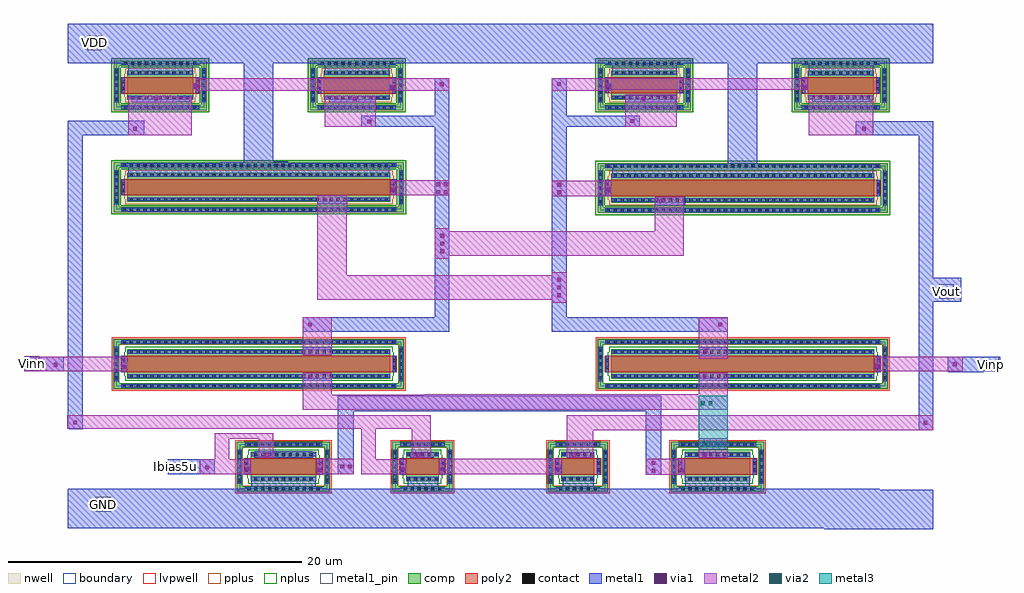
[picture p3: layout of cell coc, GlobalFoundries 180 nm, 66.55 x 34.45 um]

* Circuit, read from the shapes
.subckt coc GND Ibias5u VDD Vinn Vinp Vout
XM1 n1 Vinn n2 GND nfet_03v3 w=17.92u l=1.12u
XM2 Ibias5u Ibias5u GND GND nfet_03v3 w=4.48u l=1.12u
XM3 n3 n3 GND GND nfet_03v3 w=2.24u l=1.12u
XM4 Vout n3 GND GND nfet_03v3 w=2.24u l=1.12u
XM5 n4 Vinp n2 GND nfet_03v3 w=17.92u l=1.12u
XM6 n2 Ibias5u GND GND nfet_03v3 w=4.48u l=1.12u
XM7 VDD n1 n4 VDD pfet_03v3 w=17.92u l=1.12u
XM8 VDD n1 n3 VDD pfet_03v3 w=4.48u l=1.12u
XM9 VDD n1 n1 VDD pfet_03v3 w=4.48u l=1.12u
XM10 VDD n4 n1 VDD pfet_03v3 w=17.92u l=1.12u
XM11 VDD n4 n4 VDD pfet_03v3 w=4.48u l=1.12u
XM12 VDD n4 Vout VDD pfet_03v3 w=4.48u l=1.12u
.ends

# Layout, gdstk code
from math import pi, radians
import gdstk
lib = gdstk.Library(unit=1e-6, precision=1e-09)
def R(c, l, rs):  # rectangles x0, y0, x1, y1
    for r in rs: c.add(gdstk.rectangle(r[:2], r[2:], *l))
def A(c, l, x, y, w, h, nx, ny, dx, dy):  # array of equal rectangles
    R(c, l, [(x+i*dx, y+j*dy, x+i*dx+w, y+j*dy+h) for i in range(nx) for j in range(ny)])
boundary = (0, 0)
nwell = (21, 0)
comp = (22, 0)
poly2 = (30, 0)
pplus = (31, 0)
nplus = (32, 0)
contact = (33, 0)
metal1 = (34, 0)
metal1_pin = (34, 10)
via1 = (35, 0)
metal2 = (36, 0)
via2 = (38, 0)
metal3 = (42, 0)
lvpwell = (204, 0)

nfet_03v3_e7qsty = lib.new_cell('nfet_03v3_E7QSTY')
R(nfet_03v3_e7qsty, boundary, [(-1.51,-1.87,1.51,1.87)])
R(nfet_03v3_e7qsty, comp, [(-1.69,-2.05,1.69,-1.69), (-1.69,-1.69,-1.33,1.69), (1.33,-1.69,1.69,1.69), (-1,-1.12,1,1.12), (-1.69,1.69,1.69,2.05)])
R(nfet_03v3_e7qsty, poly2, [(-0.56,-1.58,0.56,1.58)])
R(nfet_03v3_e7qsty, pplus, [(-1.205,-2.08,1.205,-2.07), (-1.71,-2.07,1.71,-1.66), (-1.71,-1.66,-1.3,-1.565), (1.3,-1.66,1.71,-1.565), (-1.72,-1.565,-1.3,1.565), (1.3,-1.565,1.72,1.565), (-1.71,1.565,-1.3,1.66), (1.3,1.565,1.71,1.66), (-1.71,1.66,1.71,2.07), (-1.205,2.07,1.205,2.08)])
R(nfet_03v3_e7qsty, nplus, [(-0.79,-1.35,0.79,-1.28), (-1.16,-1.28,1.16,1.28), (-0.79,1.28,0.79,1.35)])
A(nfet_03v3_e7qsty, contact, -1.05, -1.98, 0.22, 0.22, 5, 2, 0.47, 3.74)
A(nfet_03v3_e7qsty, contact, -1.62, -1.285, 0.22, 0.22, 1, 6, 0, 0.47)
A(nfet_03v3_e7qsty, contact, 1.4, -1.285, 0.22, 0.22, 1, 6, 0, 0.47)
A(nfet_03v3_e7qsty, contact, -0.93, -1.05, 0.22, 0.22, 1, 5, 0, 0.47)
A(nfet_03v3_e7qsty, contact, 0.71, -1.05, 0.22, 0.22, 1, 5, 0, 0.47)
R(nfet_03v3_e7qsty, contact, [(-0.345,-1.51,-0.125,-1.29), (0.125,-1.51,0.345,-1.29), (-0.345,1.29,-0.125,1.51), (0.125,1.29,0.345,1.51)])
R(nfet_03v3_e7qsty, metal1, [(-1.165,-1.985,1.165,-1.755), (-1.625,-1.525,-1.395,1.525), (1.395,-1.525,1.625,1.525), (-0.55,-1.515,0.55,-1.285), (-0.935,-1.11,-0.705,1.11), (0.705,-1.11,0.935,1.11), (-0.55,1.285,0.55,1.515), (-1.165,1.755,1.165,1.985)])
R(nfet_03v3_e7qsty, lvpwell, [(-1.81,-2.17,1.81,2.17)])

nfet_03v3_yzp3ej = lib.new_cell('nfet_03v3_YZP3EJ')
R(nfet_03v3_yzp3ej, boundary, [(-1.51,-2.99,1.51,2.99)])
R(nfet_03v3_yzp3ej, comp, [(-1.69,-3.17,1.69,-2.81), (-1.69,-2.81,-1.33,2.81), (1.33,-2.81,1.69,2.81), (-1,-2.24,1,2.24), (-1.69,2.81,1.69,3.17)])
R(nfet_03v3_yzp3ej, poly2, [(-0.56,-2.7,0.56,2.7)])
R(nfet_03v3_yzp3ej, pplus, [(-1.205,-3.2,1.205,-3.19), (-1.71,-3.19,1.71,-2.78), (-1.71,-2.78,-1.3,-2.685), (1.3,-2.78,1.71,-2.685), (-1.72,-2.685,-1.3,2.685), (1.3,-2.685,1.72,2.685), (-1.71,2.685,-1.3,2.78), (1.3,2.685,1.71,2.78), (-1.71,2.78,1.71,3.19), (-1.205,3.19,1.205,3.2)])
R(nfet_03v3_yzp3ej, nplus, [(-0.79,-2.47,0.79,-2.4), (-1.16,-2.4,1.16,2.4), (-0.79,2.4,0.79,2.47)])
A(nfet_03v3_yzp3ej, contact, -1.05, -3.1, 0.22, 0.22, 5, 2, 0.47, 5.98)
A(nfet_03v3_yzp3ej, contact, -1.62, -2.46, 0.22, 0.22, 1, 11, 0, 0.47)
A(nfet_03v3_yzp3ej, contact, 1.4, -2.46, 0.22, 0.22, 1, 11, 0, 0.47)
A(nfet_03v3_yzp3ej, contact, -0.93, -1.99, 0.22, 0.22, 1, 9, 0, 0.47)
A(nfet_03v3_yzp3ej, contact, 0.71, -1.99, 0.22, 0.22, 1, 9, 0, 0.47)
R(nfet_03v3_yzp3ej, contact, [(-0.345,-2.63,-0.125,-2.41), (0.125,-2.63,0.345,-2.41), (-0.345,2.41,-0.125,2.63), (0.125,2.41,0.345,2.63)])
R(nfet_03v3_yzp3ej, metal1, [(-1.165,-3.105,1.165,-2.875), (-1.625,-2.645,-1.395,2.645), (1.395,-2.645,1.625,2.645), (-0.55,-2.635,0.55,-2.405), (-0.935,-2.23,-0.705,2.23), (0.705,-2.23,0.935,2.23), (-0.55,2.405,0.55,2.635), (-1.165,2.875,1.165,3.105)])
R(nfet_03v3_yzp3ej, lvpwell, [(-1.81,-3.29,1.81,3.29)])

nfet_03v3_jzfpms = lib.new_cell('nfet_03v3_JZFPMS')
R(nfet_03v3_jzfpms, boundary, [(-1.51,-9.71,1.51,9.71)])
R(nfet_03v3_jzfpms, comp, [(-1.69,-9.89,1.69,-9.53), (-1.69,-9.53,-1.33,9.53), (1.33,-9.53,1.69,9.53), (-1,-8.96,1,8.96), (-1.69,9.53,1.69,9.89)])
R(nfet_03v3_jzfpms, poly2, [(-0.56,-9.42,0.56,9.42)])
R(nfet_03v3_jzfpms, pplus, [(-1.205,-9.92,1.205,-9.91), (-1.71,-9.91,1.71,-9.5), (-1.71,-9.5,-1.3,-9.405), (1.3,-9.5,1.71,-9.405), (-1.72,-9.405,-1.3,9.405), (1.3,-9.405,1.72,9.405), (-1.71,9.405,-1.3,9.5), (1.3,9.405,1.71,9.5), (-1.71,9.5,1.71,9.91), (-1.205,9.91,1.205,9.92)])
R(nfet_03v3_jzfpms, nplus, [(-0.79,-9.19,0.79,-9.12), (-1.16,-9.12,1.16,9.12), (-0.79,9.12,0.79,9.19)])
A(nfet_03v3_jzfpms, contact, -1.05, -9.82, 0.22, 0.22, 5, 2, 0.47, 19.42)
A(nfet_03v3_jzfpms, contact, -1.62, -9.275, 0.22, 0.22, 1, 40, 0, 0.47)
A(nfet_03v3_jzfpms, contact, 1.4, -9.275, 0.22, 0.22, 1, 40, 0, 0.47)
A(nfet_03v3_jzfpms, contact, -0.93, -8.805, 0.22, 0.22, 1, 38, 0, 0.47)
A(nfet_03v3_jzfpms, contact, 0.71, -8.805, 0.22, 0.22, 1, 38, 0, 0.47)
R(nfet_03v3_jzfpms, contact, [(-0.345,-9.35,-0.125,-9.13), (0.125,-9.35,0.345,-9.13), (-0.345,9.13,-0.125,9.35), (0.125,9.13,0.345,9.35)])
R(nfet_03v3_jzfpms, metal1, [(-1.165,-9.825,1.165,-9.595), (-1.625,-9.365,-1.395,9.365), (1.395,-9.365,1.625,9.365), (-0.55,-9.355,0.55,-9.125), (-0.935,-8.95,-0.705,8.95), (0.705,-8.95,0.935,8.95), (-0.55,9.125,0.55,9.355), (-1.165,9.595,1.165,9.825)])
R(nfet_03v3_jzfpms, lvpwell, [(-1.81,-10.01,1.81,10.01)])

pfet_03v3_pbnmmu = lib.new_cell('pfet_03v3_PBNMMU')
R(pfet_03v3_pbnmmu, boundary, [(-1.51,-9.71,1.51,9.71)])
R(pfet_03v3_pbnmmu, nwell, [(-1.81,-10.01,1.81,10.01)])
R(pfet_03v3_pbnmmu, comp, [(-1.69,-9.89,1.69,-9.53), (-1.69,-9.53,-1.33,9.53), (1.33,-9.53,1.69,9.53), (-1,-8.96,1,8.96), (-1.69,9.53,1.69,9.89)])
R(pfet_03v3_pbnmmu, poly2, [(-0.56,-9.42,0.56,9.42)])
R(pfet_03v3_pbnmmu, pplus, [(-0.79,-9.19,0.79,-9.12), (-1.16,-9.12,1.16,9.12), (-0.79,9.12,0.79,9.19)])
R(pfet_03v3_pbnmmu, nplus, [(-1.85,-10.05,1.85,-9.42), (-1.85,-9.42,-1.22,9.42), (1.22,-9.42,1.85,9.42), (-1.85,9.42,1.85,10.05)])
A(pfet_03v3_pbnmmu, contact, -1.05, -9.82, 0.22, 0.22, 5, 2, 0.47, 19.42)
A(pfet_03v3_pbnmmu, contact, -1.62, -9.275, 0.22, 0.22, 1, 40, 0, 0.47)
A(pfet_03v3_pbnmmu, contact, 1.4, -9.275, 0.22, 0.22, 1, 40, 0, 0.47)
A(pfet_03v3_pbnmmu, contact, -0.93, -8.805, 0.22, 0.22, 1, 38, 0, 0.47)
A(pfet_03v3_pbnmmu, contact, 0.71, -8.805, 0.22, 0.22, 1, 38, 0, 0.47)
R(pfet_03v3_pbnmmu, contact, [(-0.345,-9.35,-0.125,-9.13), (0.125,-9.35,0.345,-9.13), (-0.345,9.13,-0.125,9.35), (0.125,9.13,0.345,9.35)])
R(pfet_03v3_pbnmmu, metal1, [(-1.165,-9.825,1.165,-9.595), (-1.625,-9.365,-1.395,9.365), (1.395,-9.365,1.625,9.365), (-0.55,-9.355,0.55,-9.125), (-0.935,-8.95,-0.705,8.95), (0.705,-8.95,0.935,8.95), (-0.55,9.125,0.55,9.355), (-1.165,9.595,1.165,9.825)])

pfet_03v3_zybkn6 = lib.new_cell('pfet_03v3_ZYBKN6')
R(pfet_03v3_zybkn6, boundary, [(-1.51,-2.99,1.51,2.99)])
R(pfet_03v3_zybkn6, nwell, [(-1.81,-3.29,1.81,3.29)])
R(pfet_03v3_zybkn6, comp, [(-1.69,-3.17,1.69,-2.81), (-1.69,-2.81,-1.33,2.81), (1.33,-2.81,1.69,2.81), (-1,-2.24,1,2.24), (-1.69,2.81,1.69,3.17)])
R(pfet_03v3_zybkn6, poly2, [(-0.56,-2.7,0.56,2.7)])
R(pfet_03v3_zybkn6, pplus, [(-0.79,-2.47,0.79,-2.4), (-1.16,-2.4,1.16,2.4), (-0.79,2.4,0.79,2.47)])
R(pfet_03v3_zybkn6, nplus, [(-1.85,-3.33,1.85,-2.7), (-1.85,-2.7,-1.22,2.7), (1.22,-2.7,1.85,2.7), (-1.85,2.7,1.85,3.33)])
A(pfet_03v3_zybkn6, contact, -1.05, -3.1, 0.22, 0.22, 5, 2, 0.47, 5.98)
A(pfet_03v3_zybkn6, contact, -1.62, -2.46, 0.22, 0.22, 1, 11, 0, 0.47)
A(pfet_03v3_zybkn6, contact, 1.4, -2.46, 0.22, 0.22, 1, 11, 0, 0.47)
A(pfet_03v3_zybkn6, contact, -0.93, -1.99, 0.22, 0.22, 1, 9, 0, 0.47)
A(pfet_03v3_zybkn6, contact, 0.71, -1.99, 0.22, 0.22, 1, 9, 0, 0.47)
R(pfet_03v3_zybkn6, contact, [(-0.345,-2.63,-0.125,-2.41), (0.125,-2.63,0.345,-2.41), (-0.345,2.41,-0.125,2.63), (0.125,2.41,0.345,2.63)])
R(pfet_03v3_zybkn6, metal1, [(-1.165,-3.105,1.165,-2.875), (-1.625,-2.645,-1.395,2.645), (1.395,-2.645,1.625,2.645), (-0.55,-2.635,0.55,-2.405), (-0.935,-2.23,-0.705,2.23), (0.705,-2.23,0.935,2.23), (-0.55,2.405,0.55,2.635), (-1.165,2.875,1.165,3.105)])

coc = lib.new_cell('coc')
A(coc, metal1, 20.05, -12.6, 0.4, 0.55, 3, 1, 10.6, 0)
R(coc, metal1, [(59.55,-16.45,67,-16.4), (8,-16.4,67,-13.75), (8,-13.75,63.35,-13.7), (20.5,-13.7,24.9,-13.05), (31.15,-13.7,33.25,-13.05), (41.75,-13.7,43.85,-13.05), (50.1,-13.7,54.5,-13.05), (47.4,-12.75,48.45,-8.4), (14.8,-12.7,18,-11.7), (26.4,-12.7,27.5,-8.4), (49.65,-12.65,50.05,-12.1), (24.95,-12.6,25.3,-11.95), (33.3,-12.6,33.65,-11.95), (20.7,-11.6,24.7,-11.45), (31.35,-11.6,32.95,-11.2), (42.05,-11.6,43.65,-11.2), (51,-11.6,53,-11.5), (50.1,-11.5,54.45,-11.35), (20.5,-11.45,24.85,-11.25), (51,-11.35,53,-11.2), (20.7,-11.25,24.7,-11.15), (32.75,-10.8,33.25,-10.6), (22,-10.75,24.85,-10.7), (66,-9.7,67,-0.95), (8.05,-9.65,9,-9.45), (8,-9.45,9,10.4), (26.4,-8.4,48.45,-7.35), (24,-6.35,26,-6.05), (51,-6.35,53,-5.8), (12.1,-6.05,29.95,-6), (24,-6,26,-5.8), (68,-5.75,70.45,-5.7), (5,-5.7,7.7,-4.7), (11.7,-5.7,11.9,-5.65), (68,-5.7,71.55,-4.7), (11.65,-5.65,12.05,-5.1), (63,-5.55,63.35,-5.15), (11.7,-5.1,11.9,-4.7), (5.05,-4.7,6.05,-4.65), (51,-4.65,53,-4.5), (24,-4.6,26,-4.05), (45.1,-4.5,62.9,-4.45), (51,-4.45,53,-4.05), (24,-3,34,-2), (41,-3,53,-2.05), (41,-2.05,51,-2), (33,-2,34,11), (41,-2,42,11), (66,-0.95,68.9,0.7), (66,0.7,67,10.4), (45.1,5.15,48,5.25), (50,5.15,62.9,5.25), (12.1,5.2,26,5.25), (27,5.2,29.9,5.25), (48,5.65,50.1,6.05), (25,5.75,27.05,6.1), (45.1,6.05,62.9,6.1), (12.1,6.1,29.9,6.15), (48,6.1,50.1,6.2), (25,6.15,27.05,6.3), (30,6.4,30.35,6.85), (44.65,6.5,45.05,6.9), (30,6.85,30.25,7.05), (30.3,6.85,30.35,6.9), (12.1,7.6,29.9,8.4), (45.1,7.65,62.9,8.35), (53,8.35,55,15.3), (18.4,8.4,23,8.55), (20,8.55,23,8.65), (20,8.65,22,15.3), (8,10.4,13.2,11.4), (61.7,10.4,67,11.35), (28,11,34,11.75), (41,11,47,11.75), (33,11.75,34,14.3), (41,11.75,42,14.3), (12.35,12.65,15.4,12.7), (25.8,12.65,29,13.1), (46,12.65,49.45,13.05), (12.35,12.7,16.35,12.85), (58.75,12.7,62.8,13.05), (12.1,12.85,16.45,13.1), (46,13.05,49.5,13.1), (58.8,13.05,62.8,13.15), (46,13.1,49.45,13.15), (16.7,13.45,16.85,13.55), (30.1,13.45,30.2,13.5), (29.95,13.5,30.3,13.9), (58.05,13.5,58.45,13.9), (16.55,13.55,16.9,13.95), (44.7,13.55,45.05,13.95), (30.1,13.9,30.2,14.3), (16.7,13.95,16.85,14.3), (58.5,14.5,62.9,15.3), (12.1,14.55,16.5,15.3), (25.5,14.55,29.9,15.3), (45.1,14.55,49.5,15.3), (8,15.3,67,18)])
R(coc, metal1_pin, [(9.9,-15.25,10.9,-14.25), (14.8,-12.7,15.8,-11.7), (70.45,-5.7,71.45,-4.7), (5.05,-5.65,6.05,-4.65), (67.4,-0.75,68.4,0.25), (9.3,16.2,10.3,17.2)])
A(coc, via1, 41.345, -0.625, 0.26, 0.26, 1, 3, 0, 0.52)
A(coc, via1, 33.395, 2.375, 0.26, 0.26, 1, 3, 0, 0.52)
R(coc, via1, [(47.795,-12.59,48.055,-12.33), (49.72,-12.58,49.98,-12.32), (25.02,-12.53,25.28,-12.27), (20.12,-12.48,20.38,-12.22), (30.72,-12.48,30.98,-12.22), (33.37,-12.48,33.63,-12.22), (41.32,-12.48,41.58,-12.22), (17.345,-12.38,17.605,-12.12), (26.56,-12.305,26.82,-12.045), (27.08,-12.305,27.34,-12.045), (47.795,-12.07,48.055,-11.81), (51.295,-11.53,51.555,-11.27), (21.42,-11.505,21.68,-11.245), (31.77,-11.505,32.03,-11.245), (42.37,-11.505,42.63,-11.245), (66.345,-9.33,66.605,-9.07), (8.345,-9.305,8.605,-9.045), (24.37,-6.205,24.63,-5.945), (51.27,-6.205,51.53,-5.945), (11.72,-5.53,11.98,-5.27), (63.07,-5.48,63.33,-5.22), (7.02,-5.38,7.28,-5.12), (68.345,-5.33,68.605,-5.07), (24.37,-4.455,24.63,-4.195), (51.37,-4.405,51.63,-4.145), (24.37,-2.63,24.63,-2.37), (52.345,-2.63,52.605,-2.37), (48.32,5.795,48.58,6.055), (25.37,5.895,25.63,6.155), (41.37,6.385,41.63,6.645), (33.11,6.41,33.37,6.67), (33.63,6.41,33.89,6.67), (30.07,6.57,30.33,6.83), (44.72,6.57,44.98,6.83), (41.37,6.905,41.63,7.165), (33.11,6.93,33.37,7.19), (33.63,6.93,33.89,7.19), (12.445,10.72,12.705,10.98), (62.145,10.72,62.405,10.98), (28.42,11.22,28.68,11.48), (46.345,11.245,46.605,11.505), (13.87,12.745,14.13,13.005), (27.42,12.745,27.68,13.005), (47.095,12.745,47.355,13.005), (59.97,12.795,60.23,13.055), (30.02,13.57,30.28,13.83), (58.12,13.57,58.38,13.83), (16.62,13.62,16.88,13.88), (44.72,13.62,44.98,13.88), (33.345,13.745,33.605,14.005), (41.345,13.77,41.605,14.03)])
R(coc, metal2, [(47.4,-12.75,50.05,-11.65), (17,-12.7,20.45,-11.7), (24.95,-12.7,27.5,-11.65), (28,-12.7,31.05,-11.7), (33.3,-12.7,41.7,-11.65), (18,-11.7,19,-10.3), (28,-11.7,29,-9.6), (21,-11.6,22,-10.3), (31.45,-11.6,32.75,-9.6), (42,-11.6,43.8,-9.7), (51,-11.6,53,-10.25), (18,-10.3,22,-9.9), (42,-9.7,67,-8.7), (7.95,-9.6,32.75,-8.7), (24,-8.3,53,-7.3), (24,-7.3,26,-5.8), (32.3,-7.3,53,-7.25), (51,-7.25,53,-5.8), (5,-5.7,12.05,-4.7), (63,-5.7,69,-4.7), (51,-4.85,53,-2), (24,-4.6,26,-2), (41,-1,42,-0.8), (25,-0.8,42,0.85), (25,0.85,27,5.55), (41,0.85,42,1.05), (33,2,34,2.2), (33,2.2,50,3.85), (33,3.85,34,4.05), (48,3.85,50,6.2), (25,5.55,27.05,6.3), (41,6.25,45.05,7.3), (30,6.3,34,7.35), (12.1,10.4,16.45,13), (58.5,10.4,62.9,13.15), (25.5,11,29,13.1), (46,11,49.5,13.2), (13.05,13,15.4,13.1), (16.7,13.45,34,13.55), (41,13.45,45.05,13.5), (41,13.5,58.45,14.3), (16.55,13.55,34,13.95), (16.7,13.95,34,14.3)])
R(coc, via2, [(51.345,-10.73,51.605,-10.47), (51.16,-8.005,51.42,-7.745), (51.68,-8.005,51.94,-7.745)])
R(coc, metal3, [(51,-11.05,53,-7.35)])
coc.add(gdstk.Reference(nfet_03v3_e7qsty, (32.17,-12.19), rotation=pi/2))
coc.add(gdstk.Reference(nfet_03v3_yzp3ej, (22.69,-12.19), rotation=pi/2))
coc.add(gdstk.Reference(nfet_03v3_jzfpms, (21.01,-5.19), rotation=3*pi/2))
coc.add(gdstk.Reference(nfet_03v3_e7qsty, (42.77,-12.19), rotation=pi/2))
coc.add(gdstk.Reference(nfet_03v3_yzp3ej, (52.29,-12.19), rotation=pi/2))
coc.add(gdstk.Reference(nfet_03v3_jzfpms, (54.01,-5.19), rotation=pi/2))
coc.add(gdstk.Reference(pfet_03v3_pbnmmu, (21.01,6.86), rotation=pi/2))
coc.add(gdstk.Reference(pfet_03v3_pbnmmu, (54.01,6.81), rotation=pi/2))
coc.add(gdstk.Reference(pfet_03v3_zybkn6, (27.69,13.81), rotation=pi/2))
coc.add(gdstk.Reference(pfet_03v3_zybkn6, (14.29,13.81), rotation=pi/2))
coc.add(gdstk.Reference(pfet_03v3_zybkn6, (47.29,13.815), rotation=pi/2))
coc.add(gdstk.Reference(pfet_03v3_zybkn6, (60.69,13.81), rotation=pi/2))
coc.add(gdstk.Label('VDD', (9.8,16.7), layer=34, texttype=10))
coc.add(gdstk.Label('Vout', (67.9,-0.25), layer=34, texttype=10))
coc.add(gdstk.Label('Vinn', (5.55,-5.15), layer=34, texttype=10))
coc.add(gdstk.Label('Ibias5u', (15.3,-12.2), layer=34, texttype=10))
coc.add(gdstk.Label('Vinp', (70.95,-5.2), layer=34, texttype=10))
coc.add(gdstk.Label('GND', (10.4,-14.75), layer=34, texttype=10))

lib.write_gds('coc.gds')
